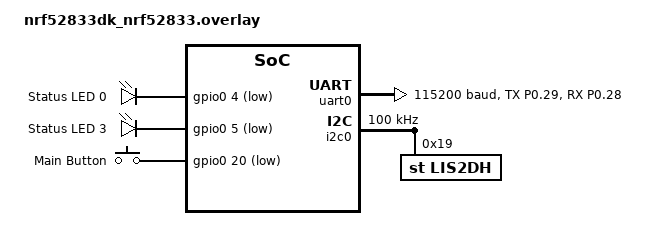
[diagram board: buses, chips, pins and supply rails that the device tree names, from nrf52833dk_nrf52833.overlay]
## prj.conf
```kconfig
# --- General & System ---
CONFIG_MULTITHREADING=y
CONFIG_PM_DEVICE=y
CONFIG_DEBUG_OPTIMIZATIONS=y
CONFIG_DEBUG_THREAD_INFO=y

# --- Console & Logging ---
CONFIG_SERIAL=y
CONFIG_STDOUT_CONSOLE=y
CONFIG_LOG=y
CONFIG_CBPRINTF_FP_SUPPORT=y
CONFIG_SENSOR_LOG_LEVEL_DBG=y
CONFIG_REBOOT=y
# --- Peripherals & Drivers ---
CONFIG_GPIO=y
CONFIG_GPIO_NRFX=y
CONFIG_I2C=y
CONFIG_SENSOR=y
CONFIG_LIS2DH=y
CONFIG_LIS2DH_OPER_MODE_LOW_POWER=y
CONFIG_LIS2DH_ACCEL_RANGE_2G=y

# --- Bluetooth Core ---
CONFIG_BT=y
CONFIG_BT_BROADCASTER=y

# --- Bluetooth Extended Advertising & Long Range ---
CONFIG_BT_EXT_ADV=y
CONFIG_BT_CTLR_ADV_EXT=y
CONFIG_BT_CTLR_PHY_CODED=y

CONFIG_BT_CTLR_ADV_DATA_LEN_MAX=253
CONFIG_BT_CTLR_TX_PWR_PLUS_8=y
```

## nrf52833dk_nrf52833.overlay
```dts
&pinctrl {
    uart0_default: uart0_default {
        group1 {
            psels = <NRF_PSEL(UART_TX, 0, 29)>,
                    <NRF_PSEL(UART_RX, 0, 28)>;
        };
    };

    uart0_sleep: uart0_sleep {
        group1 {
            psels = <NRF_PSEL(UART_TX, 0, 29)>,
                    <NRF_PSEL(UART_RX, 0, 28)>;
            low-power-enable;
        };
    };

    i2c0_default: i2c0_default {
        group1 {
            psels = <NRF_PSEL(TWIM_SDA, 0, 2)>,
                    <NRF_PSEL(TWIM_SCL, 0, 3)>;
        };
    };

    i2c0_sleep: i2c0_sleep {
        group1 {
            psels = <NRF_PSEL(TWIM_SDA, 0, 2)>,
                    <NRF_PSEL(TWIM_SCL, 0, 3)>;
            low-power-enable;
        };
    };
};


&uart0 {
    status = "okay";
    current-speed = <115200>;
    pinctrl-0 = <&uart0_default>;
    pinctrl-1 = <&uart0_sleep>;
    pinctrl-names = "default", "sleep";
};
/ {
    /* Define the LEDs used in your code */
    leds {
        compatible = "gpio-leds";

        /* Satisfies DT_NODELABEL(led0) */
        led0: led_0 {
            gpios = <&gpio0 4 GPIO_ACTIVE_LOW>; /* Schematic LED1 (Blue) */
            label = "Status LED 0";
        };

        /* Satisfies DT_NODELABEL(led3) */
        led3: led_3 {
            gpios = <&gpio0 5 GPIO_ACTIVE_LOW>;  /* Schematic LED3 (Green) */
            label = "Status LED 3";
        };
    };

    /* Define the Button used in your code */
    buttons {
        compatible = "gpio-keys";

        /* Satisfies DT_NODELABEL(button0) */
        button0: button_0 {
            gpios = <&gpio0 20 (GPIO_PULL_UP | GPIO_ACTIVE_LOW)>; /* Schematic Button 1 */
            label = "Main Button";
        };
    };
};

/* Enable I2C0 and define the Accelerometer */




&i2c0 {
    compatible = "nordic,nrf-twim";
    status = "okay";
    clock-frequency = <I2C_BITRATE_STANDARD>;
    lis2dh@19 {
        status = "okay";
        compatible = "st,lis2dh";
        reg = <0x19>;
        label = "LIS2DH";
    };
};
```

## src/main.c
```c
/* 
 * Sensor to BLE Gateway Node
 * Reads motion data, stores 80 samples, and broadcasts over Long-Range Bluetooth. 
 */

/* System Includes */
#include <zephyr/sys/reboot.h>
#include <zephyr/bluetooth/bluetooth.h>
#include <zephyr/kernel.h>
#include <zephyr/drivers/gpio.h>
#include <zephyr/device.h>
#include <zephyr/pm/pm.h>
#include <hal/nrf_gpio.h>
#include <zephyr/drivers/sensor.h>

/* Configuration & Defines */
#define SENSOR_TYPE     0x1E
#define TOTAL_PACKETS   1
#define CHUNK_SAMPLES   80 /* Number of accelerometer readings per batch */
#define MFG_DATA_LEN (1 + (CHUNK_SAMPLES * 3)) /* 241 bytes total: 1 ID + 240 data bytes */

/* Global Variables & State */
void repeated_adv(struct k_work *work);
void fetch_acc_data(struct k_work *work);

struct k_work my_work, acc_work;
struct k_timer my_timer, acc_timer;
struct bt_le_ext_adv *adv;
const struct device *sensor = DEVICE_DT_GET_ANY(st_lis2dh);
uint8_t *acc_ptr;

/* Structure to hold one X, Y, Z reading */
typedef struct {
    uint8_t x_lsb;
    uint8_t y_lsb;
    uint8_t z_lsb;
} motion_data;

motion_data Motion_data[CHUNK_SAMPLES];

static uint32_t time, last_time;
static uint32_t button_counter = 0;
int sleep_flag = 1;
int acc_fetch_flag = 0; /* Tracks number of collected samples */
int err;
static int count = 0;
int i;
int j = 0;

/* Bluetooth Radio Configuration */
/* 
 * Configured for Extended Advertising (Long Range / Coded PHY).
 * BT_LE_ADV_OPT_REQUIRE_S8_CODING ensures max range (125kbps).
 */
struct bt_le_adv_param adv_param = BT_LE_ADV_PARAM_INIT(
    BT_LE_ADV_OPT_NONE | BT_LE_ADV_OPT_EXT_ADV | BT_LE_ADV_OPT_USE_IDENTITY |
    BT_LE_ADV_OPT_CODED | BT_LE_ADV_OPT_REQUIRE_S8_CODING,
    0xC8,
    0xC8,
    NULL);

struct bt_le_ext_adv_start_param ext_adv_param = BT_LE_EXT_ADV_START_PARAM_INIT(0, 0);


/* Utility Functions */

/* Rounds floating-point sensor numbers to nearest integer */
double round_off(float value)
{
    if (value > 0) {
        if ((int)(value * 10) % 10 <= 4)
            return (uint8_t)(value);
        else
            return (uint8_t)(value + 1);
    } else {
        return (int8_t)(value);
    }
}

/* Hardcodes the MAC Address so the Gateway recognizes this device */
static void set_random_static_address(void)
{
    int err;
    int err1;
    printk("Starting iBeacon Demo\n");

    bt_addr_le_t addr;

    err = bt_addr_le_from_str("CE:BD:BE:AF:BA:11", "random", &addr);
    if (err) {
        printk("Invalid BT address (err %d)\n", err);
    }

    err1 = bt_id_create(&addr, NULL);
    if (err1 < 0) {
        printk("Creating new ID failed (err %d)\n", err1);
    }
    printk("Created new address\n");
}


/* Bluetooth Initialization */

/* Creates the advertising set with the Long Range parameters */
void adv_param_init(void)
{
    int err;

    err = bt_le_ext_adv_create(&adv_param, NULL, &adv);

    if (err) {
        printk("Failed to create advertising set (err %d)\n", err);
        return;
    }
    printk("Created extended advertising set (Coded PHY / Long Range, S=8)\n");
}


/* Sensor Data Collection */

/* Wakes up repeatedly to grab accelerometer data and triggers broadcast when full */
void fetch_acc_data(struct k_work *work)
{
    struct sensor_value accel[3];

    if (sensor == NULL) {
        printf("No device found\n");
        return;
    }
    if (!device_is_ready(sensor)) {
        printf("Device %s is not ready\n", sensor->name);
        return;
    }

    int rc = sensor_sample_fetch(sensor);
    if (rc == 0) {
        rc = sensor_channel_get(sensor, SENSOR_CHAN_ACCEL_XYZ, accel);
    }

    if (rc < 0) {
        printf("ERROR: Update failed: %d\n", rc);
    } else {
        count++;
        printf(" %d ", count);
        printf("x= %f, y= %f, z= %f\n",
               sensor_value_to_double(&accel[0]), sensor_value_to_double(&accel[1]),
               sensor_value_to_double(&accel[2]));
    }

    /* Convert float data into 8-bit format */
    Motion_data[acc_fetch_flag].x_lsb = (int8_t)(round_off(accel[0].val1 * 6.4 + accel[0].val2 * 0.0000064));
    Motion_data[acc_fetch_flag].y_lsb = (int8_t)(round_off(accel[1].val1 * 6.4 + accel[1].val2 * 0.0000064));
    Motion_data[acc_fetch_flag].z_lsb = (int8_t)(round_off(accel[2].val1 * 6.4 + accel[2].val2 * 0.0000064));
    
    printf("x= %u, y= %u, z=%u\n", 
           Motion_data[acc_fetch_flag].x_lsb, 
           Motion_data[acc_fetch_flag].y_lsb, 
           Motion_data[acc_fetch_flag].z_lsb);

    acc_fetch_flag++;
    
    /* Stop gathering and broadcast when 80 samples are collected */
    if (acc_fetch_flag == CHUNK_SAMPLES) {
        acc_fetch_flag = 0;
        k_timer_stop(&acc_timer);
        repeated_adv(NULL);
    }
}


/* Bluetooth Transmission */

/* Blasts the payload over BLE for 5 seconds */
void start_adv(void)
{
    printk("Start Extended Advertising (Long Range)...");
    err = bt_le_ext_adv_start(adv, &ext_adv_param);

    if (err) {
        printk("Failed to start extended advertising (err %d)\n", err);
        return;
    }
    printk("done.\n");

    k_msleep(5000);
    
    bt_le_ext_adv_stop(adv);
    printk("Stopped advertising..!!\n");

    /* Resume collecting data */
    k_timer_start(&acc_timer, K_MSEC(500), K_MSEC(500));
}

/* Packages 80 samples into a 241-byte flat array for BLE transmission */
void repeated_adv(struct k_work *work)
{
    int err;

    static uint8_t mfg_data[MFG_DATA_LEN];
    static const struct bt_data ad[] = {BT_DATA(BT_DATA_MANUFACTURER_DATA, mfg_data, MFG_DATA_LEN)};

    /* Byte 0 is the Device ID */
    mfg_data[0] = 50;  
    printf("%d ", mfg_data[0]);

    acc_ptr = &Motion_data[0].x_lsb;

    /* Flatten the XYZ data into bytes 1 to 240 */
    for (i = 1; i <= (CHUNK_SAMPLES * 3); i++) {
        mfg_data[i] = *(acc_ptr + (i - 1));
        printf("%d ", mfg_data[i]);
    }

    k_msleep(2000);

    err = bt_le_ext_adv_set_data(adv, ad, ARRAY_SIZE(ad), NULL, 0);
    if (err) {
        printk("Failed to set advertising data (err %d) - skipping this batch\n", err);
        k_timer_start(&acc_timer, K_MSEC(500), K_MSEC(500));
        return;
    }
    
    start_adv();
}


/* Timers & Work Queues */

/* Advertising Work Queue */
K_WORK_DEFINE(my_work, repeated_adv);
void my_expiry_function(struct k_timer *timer_id)
{
    k_work_submit(&my_work);
};
K_TIMER_DEFINE(my_timer, my_expiry_function, NULL);

/* Sensor Reading Work Queue */
K_WORK_DEFINE(acc_work, fetch_acc_data);
void acc_expiry_function(struct k_timer *timer_id)
{
    k_work_submit(&acc_work);
};
K_TIMER_DEFINE(acc_timer, acc_expiry_function, NULL);


/* Main Initialization & Loop */

int main(void)
{
    /* Setup LEDs and Button */
    nrf_gpio_cfg_output(DT_GPIO_PIN(DT_NODELABEL(led3), gpios));
    nrf_gpio_pin_set(DT_GPIO_PIN(DT_NODELABEL(led3), gpios));

    nrf_gpio_cfg_input(DT_GPIO_PIN(DT_NODELABEL(button0), gpios),
                       NRF_GPIO_PIN_PULLUP);
    nrf_gpio_cfg_sense_set(DT_GPIO_PIN(DT_NODELABEL(button0), gpios),
                           NRF_GPIO_PIN_SENSE_LOW);

    int status = nrf_gpio_pin_read(DT_GPIO_PIN(DT_NODELABEL(button0), gpios));
    printk("button status=%d\n", status);

    /* Startup LED blinking sequence */
    while (j <= 5)
    {
        nrf_gpio_cfg_output(DT_GPIO_PIN(DT_NODELABEL(led0), gpios));
        nrf_gpio_pin_toggle(DT_GPIO_PIN(DT_NODELABEL(led0), gpios));
        k_msleep(50);
        j++;
    }
    nrf_gpio_pin_set(DT_GPIO_PIN(DT_NODELABEL(led0), gpios));

    /* Initialize Bluetooth */
    set_random_static_address();

    int err = bt_enable(NULL);
    if (err) {
        printk("Bluetooth init failed (err %d)\n", err);
        return 0;
    }

    adv_param_init();
    
    /* Start sampling sensor data */
    k_timer_start(&acc_timer, K_MSEC(500), K_MSEC(500));

    /* Main loop checks for physical button resets */
    while (1) {
        
        if (nrf_gpio_pin_read(DT_GPIO_PIN(DT_NODELABEL(button0), gpios)) == 0) {

            uint32_t press_start = k_uptime_get_32();
            bool held_long_enough = false;

            /* Check if held down for 5 seconds */
            while (nrf_gpio_pin_read(DT_GPIO_PIN(DT_NODELABEL(button0), gpios)) == 0) {
                if (k_uptime_get_32() - press_start >= 5000) {
                    held_long_enough = true;
                    break;
                }
                k_msleep(50);
            }

            /* Trigger Cold Reboot */
            if (held_long_enough) {
                
                for (int blink = 0; blink < 10; blink++) {
                    nrf_gpio_pin_toggle(DT_GPIO_PIN(DT_NODELABEL(led0), gpios));
                    k_msleep(50);
                }
                nrf_gpio_pin_set(DT_GPIO_PIN(DT_NODELABEL(led0), gpios));

                k_timer_stop(&acc_timer);
                k_timer_stop(&my_timer);
                bt_le_ext_adv_stop(adv);

                sys_reboot(SYS_REBOOT_COLD);
            }
        }
        k_msleep(100);
    }

    return 0;
}
```
